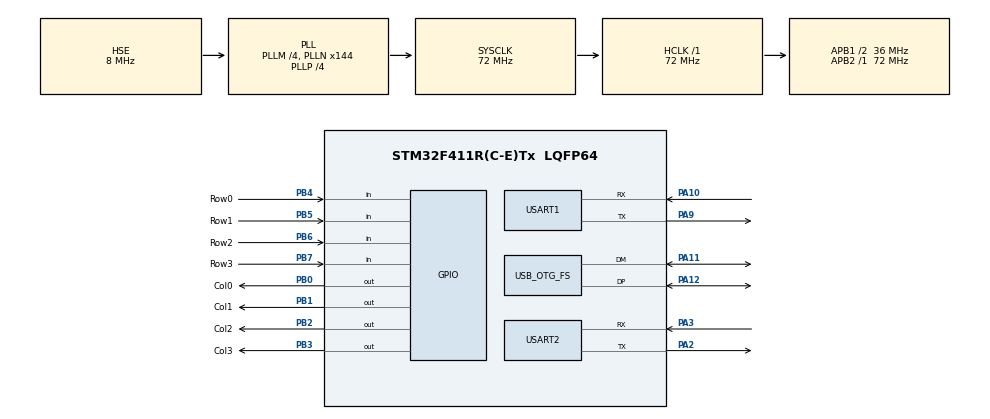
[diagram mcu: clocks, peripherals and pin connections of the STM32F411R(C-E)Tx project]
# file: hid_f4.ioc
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Mcu.Family=STM32F4
Mcu.Name=STM32F411R(C-E)Tx
Mcu.Package=LQFP64
NVIC.OTG_FS_IRQn=true\:0\:0\:false\:false\:true\:false\:true\:true
NVIC.PriorityGroup=NVIC_PRIORITYGROUP_4
NVIC.TIM2_IRQn=true\:0\:0\:false\:false\:true\:true\:true\:true
NVIC.TIM3_IRQn=true\:1\:0\:true\:false\:true\:true\:true\:true
PA10.Mode=Asynchronous
PA10.Signal=USART1_RX
PA11.Mode=Device_Only
PA11.Signal=USB_OTG_FS_DM
PA12.Mode=Device_Only
PA12.Signal=USB_OTG_FS_DP
PA2.Mode=Asynchronous
PA2.Signal=USART2_TX
PA3.Mode=Asynchronous
PA3.Signal=USART2_RX
PA9.Mode=Asynchronous
PA9.Signal=USART1_TX
PB0.GPIO_Label=Col0
PB0.GPIO_ModeDefaultOutputPP=GPIO_MODE_OUTPUT_PP
PB0.GPIO_PuPd=GPIO_NOPULL
PB0.Signal=GPIO_Output
PB1.GPIO_Label=Col1
PB1.GPIO_ModeDefaultOutputPP=GPIO_MODE_OUTPUT_PP
PB1.GPIO_PuPd=GPIO_NOPULL
PB1.Signal=GPIO_Output
PB2.GPIO_Label=Col2
PB2.GPIO_ModeDefaultOutputPP=GPIO_MODE_OUTPUT_PP
PB2.GPIO_PuPd=GPIO_NOPULL
PB2.Signal=GPIO_Output
PB3.GPIO_Label=Col3
PB3.GPIO_ModeDefaultOutputPP=GPIO_MODE_OUTPUT_PP
PB3.GPIO_PuPd=GPIO_NOPULL
PB3.Signal=GPIO_Output
PB4.GPIO_Label=Row0
PB4.GPIO_PuPd=GPIO_PULLDOWN
PB4.Signal=GPIO_Input
PB5.GPIO_Label=Row1
PB5.GPIO_PuPd=GPIO_PULLDOWN
PB5.Signal=GPIO_Input
PB6.GPIO_Label=Row2
PB6.GPIO_PuPd=GPIO_PULLDOWN
PB6.Signal=GPIO_Input
PB7.GPIO_Label=Row3
PB7.GPIO_PuPd=GPIO_PULLDOWN
PB7.Signal=GPIO_Input
PH0\ -\ OSC_IN.Mode=HSE-External-Clock-Source
PH0\ -\ OSC_IN.Signal=RCC_OSC_IN
PH1\ -\ OSC_OUT.Mode=HSE-External-Clock-Source
PH1\ -\ OSC_OUT.Signal=RCC_OSC_OUT
ProjectManager.HeapSize=0x200
ProjectManager.StackSize=0x400
ProjectManager.TargetToolchain=STM32CubeIDE
RCC.48MHZClocksFreq_Value=48000000
RCC.AHBFreq_Value=72000000
RCC.APB1CLKDivider=RCC_HCLK_DIV2
RCC.APB1Freq_Value=36000000
RCC.APB1TimFreq_Value=72000000
RCC.APB2Freq_Value=72000000
RCC.APB2TimFreq_Value=72000000
RCC.CortexFreq_Value=72000000
RCC.HCLKFreq_Value=72000000
RCC.HSE_VALUE=8000000
RCC.HSI_VALUE=16000000
RCC.LSE_VALUE=32768
RCC.PLLM=4
RCC.PLLN=144
RCC.PLLP=RCC_PLLP_DIV4
RCC.PLLQ=6
RCC.SYSCLKFreq_VALUE=72000000
RCC.SYSCLKSource=RCC_SYSCLKSOURCE_PLLCLK
RCC.VCOOutputFreq_Value=288000000
TIM2.Period=100-1
TIM2.Prescaler=72-1
TIM3.Period=1000-1
TIM3.Prescaler=600-1
USART1.VirtualMode=VM_ASYNC
USART2.VirtualMode=VM_ASYNC
USB_DEVICE.CLASS_NAME_FS=HID
USB_DEVICE.PRODUCT_STRING_HID_FS=KayO Fightstick
USB_DEVICE.VirtualMode=Hid
USB_DEVICE.VirtualModeFS=Hid_FS
USB_OTG_FS.VirtualMode=Device_Only
USB_OTG_FS.low_power_enable=DISABLE
VP_TIM2_VS_ClockSourceINT.Mode=Internal
VP_TIM3_VS_ClockSourceINT.Mode=Internal
VP_USB_DEVICE_VS_USB_DEVICE_HID_FS.Mode=HID_FS
board=custom

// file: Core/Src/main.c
/* USER CODE BEGIN Header */
/**
  ******************************************************************************
  * @file           : main.c
  * @brief          : Main program body
  ******************************************************************************
  * @attention
  *
  * Copyright (c) 2024 STMicroelectronics.
  * All rights reserved.
  *
  * This software is licensed under terms that can be found in the LICENSE file
  * in the root directory of this software component.
  * If no LICENSE file comes with this software, it is provided AS-IS.
  *
  ******************************************************************************
  */
/* USER CODE END Header */
#include "main.h"
#include "usb_device.h"

/* USER CODE BEGIN Includes */
#include "usbd_hid.h"
/* USER CODE END Includes */

TIM_HandleTypeDef htim2;
TIM_HandleTypeDef htim3;

UART_HandleTypeDef huart1;
UART_HandleTypeDef huart2;

/* USER CODE BEGIN PV */
extern USBD_HandleTypeDef hUsbDeviceFS;
uint8_t num = 0;
uint8_t temp_num = 0;
volatile int col = 0;
uint8_t buffer[] = {0, 0, 0};
uint8_t zero[] = {0, 0, 0};
uint8_t buffer1[] = {0x55, 0x55, 0x55};
uint8_t buffer2[] = {0xAA, 0xAA, 0xAA};
uint8_t bt_clean_buffer[] = {0xFD, 0, 0, 0};
/* USER CODE END PV */

void SystemClock_Config(void);
static void MX_GPIO_Init(void);
static void MX_TIM2_Init(void);
static void MX_TIM3_Init(void);
static void MX_USART1_UART_Init(void);
static void MX_USART2_UART_Init(void);
/* USER CODE BEGIN PFP */
void drive_column(void);
uint8_t read_rows(void);
void clean_buffer_bt(void);
/* USER CODE END PFP */

/* USER CODE BEGIN 0 */
#ifdef __GNUC__
  /* With GCC, small printf (option LD Linker->Libraries->Small printf
     set to 'Yes') calls __io_putchar() */
int __io_putchar(int ch)
#else
int fputc(int ch, FILE *f)
#endif /* __GNUC__ */
{
  /* Place your implementation of fputc here */
  /* e.g. write a character to the UART3 and Loop until the end of transmission */
  HAL_UART_Transmit(&huart1, (uint8_t *)&ch, 1, HAL_MAX_DELAY);
  return ch;
}

/* USER CODE END 0 */

int main(void)
{

  /* MCU Configuration--------------------------------------------------------*/

  /* Reset of all peripherals, Initializes the Flash interface and the Systick. */
  HAL_Init();

  /* Configure the system clock */
  SystemClock_Config();

  /* Initialize all configured peripherals */
  MX_GPIO_Init();
  MX_USB_DEVICE_Init();
  MX_TIM2_Init();
  MX_TIM3_Init();
  MX_USART1_UART_Init();
  MX_USART2_UART_Init();
  /* USER CODE BEGIN 2 */
  GPIOB->BSRR = 0xf << 16;
  GPIOB->BSRR = 0x1;
  HAL_TIM_Base_Start_IT(&htim2);
  HAL_TIM_Base_Start_IT(&htim3);
  /* USER CODE END 2 */

  /* Infinite loop */
  while (1)
  {

    /* USER CODE BEGIN 3 */
//	  USBD_HID_SendReport(&hUsbDeviceFS, buffer1, sizeof(buffer1));
//	  HAL_Delay(500);
//	  USBD_HID_SendReport(&hUsbDeviceFS, buffer2, sizeof(buffer2));
//	  HAL_Delay(500);
  }
  /* USER CODE END 3 */
}

void SystemClock_Config(void)
{
  RCC_OscInitTypeDef RCC_OscInitStruct = {0};
  RCC_ClkInitTypeDef RCC_ClkInitStruct = {0};

  /** Configure the main internal regulator output voltage
  */
  __HAL_RCC_PWR_CLK_ENABLE();
  __HAL_PWR_VOLTAGESCALING_CONFIG(PWR_REGULATOR_VOLTAGE_SCALE1);

  /** Initializes the RCC Oscillators according to the specified parameters
  * in the RCC_OscInitTypeDef structure.
  */
  RCC_OscInitStruct.OscillatorType = RCC_OSCILLATORTYPE_HSE;
  RCC_OscInitStruct.HSEState = RCC_HSE_BYPASS;
  RCC_OscInitStruct.PLL.PLLState = RCC_PLL_ON;
  RCC_OscInitStruct.PLL.PLLSource = RCC_PLLSOURCE_HSE;
  RCC_OscInitStruct.PLL.PLLM = 4;
  RCC_OscInitStruct.PLL.PLLN = 144;
  RCC_OscInitStruct.PLL.PLLP = RCC_PLLP_DIV4;
  RCC_OscInitStruct.PLL.PLLQ = 6;
  if (HAL_RCC_OscConfig(&RCC_OscInitStruct) != HAL_OK)
  {
    Error_Handler();
  }

  /** Initializes the CPU, AHB and APB buses clocks
  */
  RCC_ClkInitStruct.ClockType = RCC_CLOCKTYPE_HCLK|RCC_CLOCKTYPE_SYSCLK
                              |RCC_CLOCKTYPE_PCLK1|RCC_CLOCKTYPE_PCLK2;
  RCC_ClkInitStruct.SYSCLKSource = RCC_SYSCLKSOURCE_PLLCLK;
  RCC_ClkInitStruct.AHBCLKDivider = RCC_SYSCLK_DIV1;
  RCC_ClkInitStruct.APB1CLKDivider = RCC_HCLK_DIV2;
  RCC_ClkInitStruct.APB2CLKDivider = RCC_HCLK_DIV1;

  if (HAL_RCC_ClockConfig(&RCC_ClkInitStruct, FLASH_LATENCY_2) != HAL_OK)
  {
    Error_Handler();
  }
}

static void MX_TIM2_Init(void)
{

  TIM_ClockConfigTypeDef sClockSourceConfig = {0};
  TIM_MasterConfigTypeDef sMasterConfig = {0};

  htim2.Instance = TIM2;
  htim2.Init.Prescaler = 72-1;
  htim2.Init.CounterMode = TIM_COUNTERMODE_UP;
  htim2.Init.Period = 100-1;
  htim2.Init.ClockDivision = TIM_CLOCKDIVISION_DIV1;
  htim2.Init.AutoReloadPreload = TIM_AUTORELOAD_PRELOAD_DISABLE;
  if (HAL_TIM_Base_Init(&htim2) != HAL_OK)
  {
    Error_Handler();
  }
  sClockSourceConfig.ClockSource = TIM_CLOCKSOURCE_INTERNAL;
  if (HAL_TIM_ConfigClockSource(&htim2, &sClockSourceConfig) != HAL_OK)
  {
    Error_Handler();
  }
  sMasterConfig.MasterOutputTrigger = TIM_TRGO_RESET;
  sMasterConfig.MasterSlaveMode = TIM_MASTERSLAVEMODE_DISABLE;
  if (HAL_TIMEx_MasterConfigSynchronization(&htim2, &sMasterConfig) != HAL_OK)
  {
    Error_Handler();
  }

}

static void MX_TIM3_Init(void)
{

  TIM_ClockConfigTypeDef sClockSourceConfig = {0};
  TIM_MasterConfigTypeDef sMasterConfig = {0};

  htim3.Instance = TIM3;
  htim3.Init.Prescaler = 600-1;
  htim3.Init.CounterMode = TIM_COUNTERMODE_UP;
  htim3.Init.Period = 1000-1;
  htim3.Init.ClockDivision = TIM_CLOCKDIVISION_DIV1;
  htim3.Init.AutoReloadPreload = TIM_AUTORELOAD_PRELOAD_DISABLE;
  if (HAL_TIM_Base_Init(&htim3) != HAL_OK)
  {
    Error_Handler();
  }
  sClockSourceConfig.ClockSource = TIM_CLOCKSOURCE_INTERNAL;
  if (HAL_TIM_ConfigClockSource(&htim3, &sClockSourceConfig) != HAL_OK)
  {
    Error_Handler();
  }
  sMasterConfig.MasterOutputTrigger = TIM_TRGO_RESET;
  sMasterConfig.MasterSlaveMode = TIM_MASTERSLAVEMODE_DISABLE;
  if (HAL_TIMEx_MasterConfigSynchronization(&htim3, &sMasterConfig) != HAL_OK)
  {
    Error_Handler();
  }

}

static void MX_USART1_UART_Init(void)
{

  huart1.Instance = USART1;
  huart1.Init.BaudRate = 115200;
  huart1.Init.WordLength = UART_WORDLENGTH_8B;
  huart1.Init.StopBits = UART_STOPBITS_1;
  huart1.Init.Parity = UART_PARITY_NONE;
  huart1.Init.Mode = UART_MODE_TX_RX;
  huart1.Init.HwFlowCtl = UART_HWCONTROL_NONE;
  huart1.Init.OverSampling = UART_OVERSAMPLING_16;
  if (HAL_UART_Init(&huart1) != HAL_OK)
  {
    Error_Handler();
  }

}

static void MX_USART2_UART_Init(void)
{

  huart2.Instance = USART2;
  huart2.Init.BaudRate = 115200;
  huart2.Init.WordLength = UART_WORDLENGTH_8B;
  huart2.Init.StopBits = UART_STOPBITS_1;
  huart2.Init.Parity = UART_PARITY_NONE;
  huart2.Init.Mode = UART_MODE_TX_RX;
  huart2.Init.HwFlowCtl = UART_HWCONTROL_NONE;
  huart2.Init.OverSampling = UART_OVERSAMPLING_16;
  if (HAL_UART_Init(&huart2) != HAL_OK)
  {
    Error_Handler();
  }

}

static void MX_GPIO_Init(void)
{
  GPIO_InitTypeDef GPIO_InitStruct = {0};

  /* GPIO Ports Clock Enable */
  __HAL_RCC_GPIOH_CLK_ENABLE();
  __HAL_RCC_GPIOA_CLK_ENABLE();
  __HAL_RCC_GPIOB_CLK_ENABLE();

  /*Configure GPIO pin Output Level */
  HAL_GPIO_WritePin(GPIOB, Col0_Pin|Col1_Pin|Col2_Pin|Col3_Pin, GPIO_PIN_RESET);

  /*Configure GPIO pins : Col0_Pin Col1_Pin Col2_Pin Col3_Pin */
  GPIO_InitStruct.Pin = Col0_Pin|Col1_Pin|Col2_Pin|Col3_Pin;
  GPIO_InitStruct.Mode = GPIO_MODE_OUTPUT_PP;
  GPIO_InitStruct.Pull = GPIO_NOPULL;
  GPIO_InitStruct.Speed = GPIO_SPEED_FREQ_LOW;
  HAL_GPIO_Init(GPIOB, &GPIO_InitStruct);

  /*Configure GPIO pins : Row0_Pin Row1_Pin Row2_Pin Row3_Pin */
  GPIO_InitStruct.Pin = Row0_Pin|Row1_Pin|Row2_Pin|Row3_Pin;
  GPIO_InitStruct.Mode = GPIO_MODE_INPUT;
  GPIO_InitStruct.Pull = GPIO_PULLDOWN;
  HAL_GPIO_Init(GPIOB, &GPIO_InitStruct);

}

/* USER CODE BEGIN 4 */
void drive_column(void) {
	col = (col + 1) & 0x3;
	GPIOB->BSRR = 0xf << 16;
	GPIOB->BSRR = 0x1 << (col);
}

uint8_t read_rows(void) {
	return ((GPIOB->IDR & 0xf0) >> 4) & 0xf;
}

void clean_buffer_bt(void) {
	bt_clean_buffer[1] = buffer[0];
	bt_clean_buffer[2] = buffer[1];
	bt_clean_buffer[3] = buffer[2];
}

void HAL_TIM_PeriodElapsedCallback(TIM_HandleTypeDef *htim) {
	if (htim == &htim2) {
		uint8_t rows = read_rows();
		int idx = col / 2;
		buffer[idx] &= ~(0xf << ((col % 2) * 4));
		buffer[idx] |= rows << ((col % 2) * 4);
		drive_column();
	}

	if (htim == &htim3) {
		USBD_HID_SendReport(&hUsbDeviceFS, buffer, sizeof(buffer));
//		HAL_UART_Transmit(&huart2, buffer, sizeof(buffer), 100);
//		printf("%d\r\n",buffer);
	}
}
/* USER CODE END 4 */

void Error_Handler(void)
{
  __disable_irq();
  while (1)
  {
  }
}
